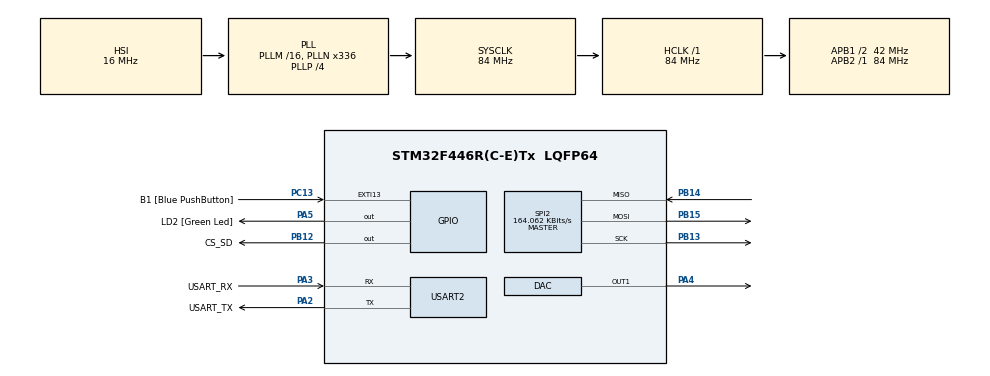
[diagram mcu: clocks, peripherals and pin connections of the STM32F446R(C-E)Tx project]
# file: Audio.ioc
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DAC.DAC_Trigger=DAC_TRIGGER_T6_TRGO
Dma.DAC1.0.Direction=DMA_MEMORY_TO_PERIPH
Dma.DAC1.0.FIFOMode=DMA_FIFOMODE_DISABLE
Dma.DAC1.0.Instance=DMA1_Stream5
Dma.DAC1.0.MemDataAlignment=DMA_MDATAALIGN_WORD
Dma.DAC1.0.MemInc=DMA_MINC_ENABLE
Dma.DAC1.0.Mode=DMA_CIRCULAR
Dma.DAC1.0.PeriphDataAlignment=DMA_PDATAALIGN_WORD
Dma.DAC1.0.PeriphInc=DMA_PINC_DISABLE
Dma.DAC1.0.Priority=DMA_PRIORITY_LOW
Dma.Request0=DAC1
Mcu.Family=STM32F4
Mcu.Name=STM32F446R(C-E)Tx
Mcu.Package=LQFP64
NVIC.DMA1_Stream5_IRQn=true\:0\:0\:false\:false\:true\:false\:true\:true
NVIC.PriorityGroup=NVIC_PRIORITYGROUP_0
PA13.GPIO_Label=TMS
PA13.Mode=Serial_Wire
PA13.Signal=SYS_JTMS-SWDIO
PA14.GPIO_Label=TCK
PA14.Mode=Serial_Wire
PA14.Signal=SYS_JTCK-SWCLK
PA2.GPIO_Label=USART_TX
PA2.Mode=Asynchronous
PA2.Signal=USART2_TX
PA3.GPIO_Label=USART_RX
PA3.Mode=Asynchronous
PA3.Signal=USART2_RX
PA4.Signal=COMP_DAC1_group
PA5.GPIO_Label=LD2 [Green Led]
PA5.Signal=GPIO_Output
PB12.GPIO_Label=CS_SD
PB12.PinState=GPIO_PIN_SET
PB12.Signal=GPIO_Output
PB13.Mode=Full_Duplex_Master
PB13.Signal=SPI2_SCK
PB14.Mode=Full_Duplex_Master
PB14.Signal=SPI2_MISO
PB15.Mode=Full_Duplex_Master
PB15.Signal=SPI2_MOSI
PB3.GPIO_Label=SWO
PB3.Signal=SYS_JTDO-SWO
PC13.GPIO_Label=B1 [Blue PushButton]
PC13.GPIO_ModeDefaultEXTI=GPIO_MODE_IT_FALLING
PC13.Signal=GPXTI13
PC14-OSC32_IN.Mode=LSE-External-Oscillator
PC14-OSC32_IN.Signal=RCC_OSC32_IN
PC15-OSC32_OUT.Mode=LSE-External-Oscillator
PC15-OSC32_OUT.Signal=RCC_OSC32_OUT
PH0-OSC_IN.Mode=HSE-External-Oscillator
PH0-OSC_IN.Signal=RCC_OSC_IN
PH1-OSC_OUT.Mode=HSE-External-Oscillator
PH1-OSC_OUT.Signal=RCC_OSC_OUT
ProjectManager.HeapSize=0x200
ProjectManager.StackSize=0x400
ProjectManager.TargetToolchain=STM32CubeIDE
RCC.48MHZClocksFreq_Value=84000000
RCC.AHBFreq_Value=84000000
RCC.APB1CLKDivider=RCC_HCLK_DIV2
RCC.APB1Freq_Value=42000000
RCC.APB1TimFreq_Value=84000000
RCC.APB2Freq_Value=84000000
RCC.APB2TimFreq_Value=84000000
RCC.CortexFreq_Value=84000000
RCC.FLatency-AdvancedSettings=FLASH_LATENCY_2
RCC.HCLKFreq_Value=84000000
RCC.HSE_VALUE=8000000
RCC.HSI_VALUE=16000000
RCC.PLLN=336
RCC.PLLP=RCC_PLLP_DIV4
RCC.SYSCLKFreq_VALUE=84000000
RCC.SYSCLKSource=RCC_SYSCLKSOURCE_PLLCLK
RCC.USBFreq_Value=168000000
RCC.VCOOutputFreq_Value=336000000
SH.COMP_DAC1_group.0=DAC_OUT1,DAC_OUT1
SPI2.BaudRatePrescaler=SPI_BAUDRATEPRESCALER_256
SPI2.CalculateBaudRate=164.062 KBits/s
SPI2.Direction=SPI_DIRECTION_2LINES
SPI2.Mode=SPI_MODE_MASTER
SPI2.VirtualType=VM_MASTER
TIM6.AutoReloadPreload=TIM_AUTORELOAD_PRELOAD_ENABLE
TIM6.Period=9987 - 1
TIM6.Prescaler=840 - 1
TIM6.TIM_MasterOutputTrigger=TIM_TRGO_UPDATE
USART2.VirtualMode=VM_ASYNC
VP_FATFS_VS_Generic.Mode=User_defined
VP_TIM6_VS_ClockSourceINT.Mode=Enable_Timer
board=NUCLEO-F446RE

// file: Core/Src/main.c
/* USER CODE BEGIN Header */
/**
  ******************************************************************************
  * @file           : main.c
  * @brief          : DAC audio (TIM6+DMA) + SPI2 + FATFS (SD)
  ******************************************************************************
  * NOTA: El código entre bloques USER CODE no se pierde al regenerar CubeMX.
  ******************************************************************************
  */
/* USER CODE END Header */

#include "main.h"

/* USER CODE BEGIN Includes */
#include <math.h>
#include <string.h>
#include <stdio.h>
#include "fatfs.h"      // generado por CubeMX (FATFS/App)
#include "ff.h"         // FatFs core
/* USER CODE END Includes */

/* USER CODE BEGIN PTD */
typedef struct {
  float    freq_hz;    // 0 => silencio
  uint8_t  dur_beats;  // 4=negra, 8=blanca, 2=corchea...
} Note;
/* USER CODE END PTD */

/* USER CODE BEGIN PD */
#define AUDIO_FS_HZ        20000U   // Fs = 20 kHz
#define WT_SIZE            256U
#define AUDIO_BUF_SAMPLES  512U     // doble buffer
#define DAC_MAX_12B        4095U
#define DAC_OFFSET_12B     2048U
/* USER CODE END PD */

DAC_HandleTypeDef hdac;
DMA_HandleTypeDef hdma_dac1;
SPI_HandleTypeDef hspi2;
TIM_HandleTypeDef htim6;
UART_HandleTypeDef huart2;

/* USER CODE BEGIN PV */
/* Audio engine */
static uint16_t audio_buf[AUDIO_BUF_SAMPLES];
static uint16_t wavetable[WT_SIZE];
static uint32_t phase_q16 = 0;
static uint32_t phase_inc_q16 = 0;
static uint8_t  audio_running = 0;
static float    current_freq_hz = 0.0f;

/* FATFS */
static FATFS   s_fs;      // objeto de sistema de archivos
static uint8_t sd_mounted = 0;
/* USER CODE END PV */

void SystemClock_Config(void);
static void MX_GPIO_Init(void);
static void MX_DMA_Init(void);
static void MX_USART2_UART_Init(void);
static void MX_DAC_Init(void);
static void MX_TIM6_Init(void);
static void MX_SPI2_Init(void);
/* USER CODE BEGIN PFP */
/* Audio */
static void WT_InitSine(void);
static inline void Audio_SetFrequency(float freq_hz);
static void Audio_Start(void);
static void Audio_Stop(void);
static void FillHalf(uint32_t off, uint32_t len);
/* SD/FATFS */
static void SD_Mount(void);
/* USER CODE END PFP */

/* USER CODE BEGIN 0 */
/* ==== Audio helpers ==== */
static void WT_InitSine(void) {
  for (uint32_t i = 0; i < WT_SIZE; ++i) {
    float s = sinf(2.0f * 3.14159265359f * (float)i / (float)WT_SIZE);
    uint16_t v = (uint16_t)((s * 0.49f + 0.5f) * (float)DAC_MAX_12B);
    wavetable[i] = v;
  }
}

static inline void Audio_SetFrequency(float freq_hz) {
  current_freq_hz = freq_hz;
  if (freq_hz <= 0.0f) {
    phase_inc_q16 = 0;
    return;
  }
  float step = (freq_hz * (float)WT_SIZE) / (float)AUDIO_FS_HZ;
  phase_inc_q16 = (uint32_t)(step * 65536.0f);
}

static void FillHalf(uint32_t off, uint32_t len) {
  if (phase_inc_q16 == 0) {
    for (uint32_t i = 0; i < len; ++i) audio_buf[off + i] = DAC_OFFSET_12B;
    return;
  }
  for (uint32_t i = 0; i < len; ++i) {
    uint32_t idx = (phase_q16 >> 16) & (WT_SIZE - 1);
    audio_buf[off + i] = wavetable[idx];
    phase_q16 += phase_inc_q16;
  }
}

static void Audio_Start(void) {
  if (audio_running) return;

  WT_InitSine();
  phase_q16 = 0;
  for (uint32_t i = 0; i < AUDIO_BUF_SAMPLES; ++i) {
    uint32_t idx = (phase_q16 >> 16) & (WT_SIZE - 1);
    audio_buf[i] = wavetable[idx];
    phase_q16 += phase_inc_q16;
  }

  HAL_DAC_Start(&hdac, DAC_CHANNEL_1);
  HAL_DAC_Start_DMA(&hdac, DAC_CHANNEL_1,
                    (uint32_t*)audio_buf, AUDIO_BUF_SAMPLES, DAC_ALIGN_12B_R);
  HAL_TIM_Base_Start(&htim6);
  audio_running = 1;
}

static void Audio_Stop(void) {
  if (!audio_running) return;
  HAL_TIM_Base_Stop(&htim6);
  HAL_DAC_Stop_DMA(&hdac, DAC_CHANNEL_1);
  HAL_DAC_Stop(&hdac, DAC_CHANNEL_1);
  audio_running = 0;
}

/* DMA callbacks del DAC – mantener dentro de USER CODE para no perderlos */
void HAL_DAC_ConvHalfCpltCallbackCh1(DAC_HandleTypeDef* hdacx) {
  (void)hdacx;
  FillHalf(0, AUDIO_BUF_SAMPLES/2);
}
void HAL_DAC_ConvCpltCallbackCh1(DAC_HandleTypeDef* hdacx) {
  (void)hdacx;
  FillHalf(AUDIO_BUF_SAMPLES/2, AUDIO_BUF_SAMPLES/2);
}

/* ==== FATFS helpers ==== */
static void SD_Mount(void) {
  FRESULT fr = f_mount(&s_fs, "", 1);  // montar en unidad por defecto
  sd_mounted = (fr == FR_OK);
}

/* USER CODE END 0 */

int main(void)
{

  /* MCU Configuration--------------------------------------------------------*/
  HAL_Init();
  SystemClock_Config();

  /* Initialize all configured peripherals */
  MX_GPIO_Init();
  MX_DMA_Init();
  MX_USART2_UART_Init();
  MX_DAC_Init();
  MX_TIM6_Init();
  MX_SPI2_Init();
  MX_FATFS_Init();   /* genera los “glue” de FatFs */

  /* USER CODE BEGIN 2 */
  /* Monta SD (requiere alimentación + SPI2 conectado) */
  SD_Mount();

  /* Arranca motor de audio en silencio */
  Audio_SetFrequency(0.0f);
  Audio_Start();

  /* Tono de prueba breve si la SD está montada */
  if (sd_mounted) {
    Audio_SetFrequency(440.0f);  // A4
    HAL_Delay(300);
    Audio_SetFrequency(0.0f);
  }
  /* USER CODE END 2 */

  /* Infinite loop */
  while (1)
  {
    /* USER CODE BEGIN WHILE */
    // Coloca aquí tu lógica de reproducción/carga desde SD
    HAL_Delay(10);
    /* USER CODE END WHILE */

  }
}

void SystemClock_Config(void)
{
  RCC_OscInitTypeDef RCC_OscInitStruct = {0};
  RCC_ClkInitTypeDef RCC_ClkInitStruct = {0};

  __HAL_RCC_PWR_CLK_ENABLE();
  __HAL_PWR_VOLTAGESCALING_CONFIG(PWR_REGULATOR_VOLTAGE_SCALE3);

  RCC_OscInitStruct.OscillatorType = RCC_OSCILLATORTYPE_HSI;
  RCC_OscInitStruct.HSIState = RCC_HSI_ON;
  RCC_OscInitStruct.HSICalibrationValue = RCC_HSICALIBRATION_DEFAULT;
  RCC_OscInitStruct.PLL.PLLState = RCC_PLL_ON;
  RCC_OscInitStruct.PLL.PLLSource = RCC_PLLSOURCE_HSI;
  RCC_OscInitStruct.PLL.PLLM = 16;
  RCC_OscInitStruct.PLL.PLLN = 336;
  RCC_OscInitStruct.PLL.PLLP = RCC_PLLP_DIV4; // SYSCLK=84MHz
  RCC_OscInitStruct.PLL.PLLQ = 2;
  RCC_OscInitStruct.PLL.PLLR = 2;
  if (HAL_RCC_OscConfig(&RCC_OscInitStruct) != HAL_OK) { Error_Handler(); }

  RCC_ClkInitStruct.ClockType = RCC_CLOCKTYPE_HCLK | RCC_CLOCKTYPE_SYSCLK
                              | RCC_CLOCKTYPE_PCLK1| RCC_CLOCKTYPE_PCLK2;
  RCC_ClkInitStruct.SYSCLKSource   = RCC_SYSCLKSOURCE_PLLCLK;
  RCC_ClkInitStruct.AHBCLKDivider  = RCC_SYSCLK_DIV1;  // 84 MHz
  RCC_ClkInitStruct.APB1CLKDivider = RCC_HCLK_DIV2;    // 42 MHz (TIMx x2 = 84)
  RCC_ClkInitStruct.APB2CLKDivider = RCC_HCLK_DIV1;    // 84 MHz
  if (HAL_RCC_ClockConfig(&RCC_ClkInitStruct, FLASH_LATENCY_2) != HAL_OK) {
    Error_Handler();
  }
}

/* ================== Inits generados (mantener firma) ================== */

static void MX_DAC_Init(void)
{
  DAC_ChannelConfTypeDef sConfig = {0};
  hdac.Instance = DAC;
  if (HAL_DAC_Init(&hdac) != HAL_OK) { Error_Handler(); }

  /* TRIGGER por TIM6 TRGO */
  sConfig.DAC_Trigger = DAC_TRIGGER_T6_TRGO;
  sConfig.DAC_OutputBuffer = DAC_OUTPUTBUFFER_ENABLE;
  if (HAL_DAC_ConfigChannel(&hdac, &sConfig, DAC_CHANNEL_1) != HAL_OK) {
    Error_Handler();
  }
}

static void MX_TIM6_Init(void)
{
  /* Fs=20 kHz con TIM6clk=84 MHz:
     84e6/(PSC+1)/(ARR+1) = 20000  -> PSC=83 (1 MHz), ARR=49 */
  TIM_MasterConfigTypeDef sMasterConfig = {0};

  htim6.Instance = TIM6;
  htim6.Init.Prescaler = 83;
  htim6.Init.CounterMode = TIM_COUNTERMODE_UP;
  htim6.Init.Period = 49;
  htim6.Init.AutoReloadPreload = TIM_AUTORELOAD_PRELOAD_ENABLE;
  if (HAL_TIM_Base_Init(&htim6) != HAL_OK) { Error_Handler(); }

  sMasterConfig.MasterOutputTrigger = TIM_TRGO_UPDATE;
  sMasterConfig.MasterSlaveMode = TIM_MASTERSLAVEMODE_DISABLE;
  if (HAL_TIMEx_MasterConfigSynchronization(&htim6, &sMasterConfig) != HAL_OK) {
    Error_Handler();
  }
}

static void MX_SPI2_Init(void)
{
  hspi2.Instance = SPI2;
  hspi2.Init.Mode = SPI_MODE_MASTER;
  hspi2.Init.Direction = SPI_DIRECTION_2LINES;
  hspi2.Init.DataSize = SPI_DATASIZE_8BIT;
  hspi2.Init.CLKPolarity = SPI_POLARITY_LOW;
  hspi2.Init.CLKPhase = SPI_PHASE_1EDGE;
  hspi2.Init.NSS = SPI_NSS_SOFT;                 // usas PB12 como GPIO CS
  hspi2.Init.BaudRatePrescaler = SPI_BAUDRATEPRESCALER_256; // seguro para SD
  hspi2.Init.FirstBit = SPI_FIRSTBIT_MSB;
  hspi2.Init.TIMode = SPI_TIMODE_DISABLE;
  hspi2.Init.CRCCalculation = SPI_CRCCALCULATION_DISABLE;
  hspi2.Init.CRCPolynomial = 10;
  if (HAL_SPI_Init(&hspi2) != HAL_OK) { Error_Handler(); }
}

static void MX_USART2_UART_Init(void)
{
  huart2.Instance = USART2;
  huart2.Init.BaudRate = 115200;
  huart2.Init.WordLength = UART_WORDLENGTH_8B;
  huart2.Init.StopBits   = UART_STOPBITS_1;
  huart2.Init.Parity     = UART_PARITY_NONE;
  huart2.Init.Mode       = UART_MODE_TX_RX;
  huart2.Init.HwFlowCtl  = UART_HWCONTROL_NONE;
  huart2.Init.OverSampling = UART_OVERSAMPLING_16;
  if (HAL_UART_Init(&huart2) != HAL_OK) { Error_Handler(); }
}

static void MX_DMA_Init(void)
{
  __HAL_RCC_DMA1_CLK_ENABLE();
  /* DMA1 Stream5 (DAC1 CH1 típico) */
  HAL_NVIC_SetPriority(DMA1_Stream5_IRQn, 0, 0);
  HAL_NVIC_EnableIRQ(DMA1_Stream5_IRQn);
}

static void MX_GPIO_Init(void)
{
  GPIO_InitTypeDef GPIO_InitStruct = {0};

  __HAL_RCC_GPIOC_CLK_ENABLE();
  __HAL_RCC_GPIOA_CLK_ENABLE();
  __HAL_RCC_GPIOB_CLK_ENABLE();

  /* PB12: CS de la SD en alto por defecto */
  HAL_GPIO_WritePin(GPIOB, GPIO_PIN_12, GPIO_PIN_SET);
  GPIO_InitStruct.Pin = GPIO_PIN_12;
  GPIO_InitStruct.Mode = GPIO_MODE_OUTPUT_PP;
  GPIO_InitStruct.Pull = GPIO_NOPULL;
  GPIO_InitStruct.Speed = GPIO_SPEED_FREQ_HIGH;
  HAL_GPIO_Init(GPIOB, &GPIO_InitStruct);
}

/* USER CODE BEGIN 4 */
/* Si quieres printf por UART2, agrega retarget en syscalls.c o aquí */
/* USER CODE END 4 */

/**
  * @brief  Error Handler
  */
void Error_Handler(void)
{
  __disable_irq();
  while (1) { }
}
